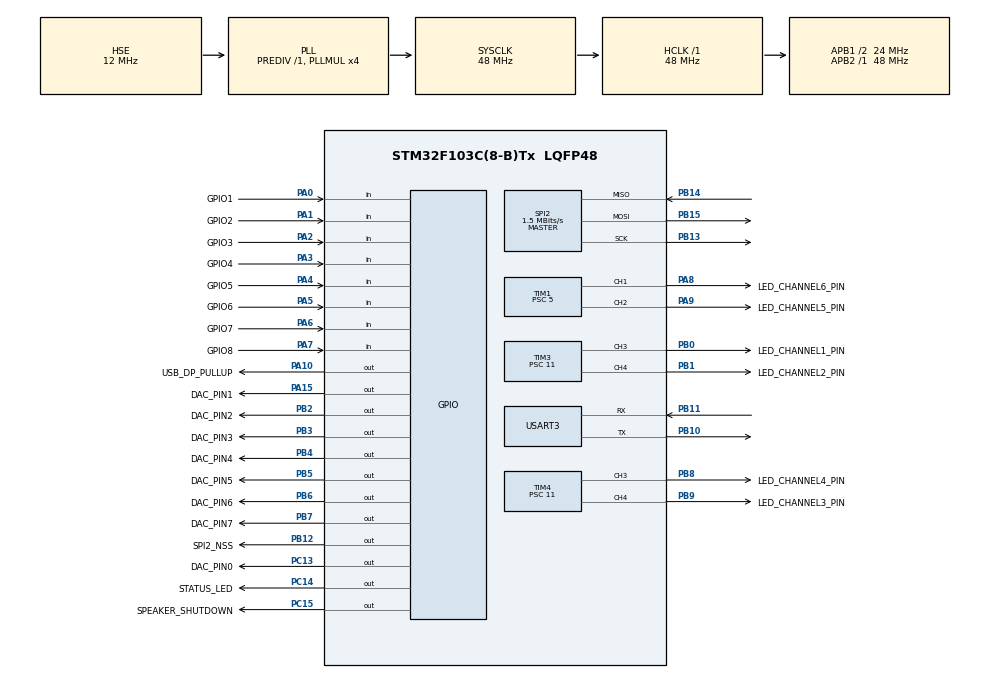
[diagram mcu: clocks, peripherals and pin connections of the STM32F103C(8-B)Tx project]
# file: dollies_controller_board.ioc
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Mcu.Family=STM32F1
Mcu.Name=STM32F103C(8-B)Tx
Mcu.Package=LQFP48
Mcu.UserConstants=TIMER_COUNTER_MAX_VALUE,10000
NVIC.PriorityGroup=NVIC_PRIORITYGROUP_4
NVIC.TIM1_CC_IRQn=true\:1\:0\:true\:false\:true\:true\:true
NVIC.TIM1_UP_IRQn=true\:1\:0\:true\:false\:true\:true\:true
NVIC.TIM2_IRQn=true\:0\:0\:false\:false\:true\:true\:true
NVIC.TIM3_IRQn=true\:5\:0\:true\:false\:true\:true\:true
PA0-WKUP.GPIO_Label=GPIO1
PA0-WKUP.GPIO_PuPd=GPIO_PULLUP
PA0-WKUP.Signal=GPIO_Input
PA1.GPIO_Label=GPIO2
PA1.GPIO_PuPd=GPIO_PULLUP
PA1.Signal=GPIO_Input
PA10.GPIO_Label=USB_DP_PULLUP
PA10.GPIO_ModeDefaultOutputPP=GPIO_MODE_OUTPUT_PP
PA10.PinState=GPIO_PIN_RESET
PA10.Signal=GPIO_Output
PA11.Signal=USB_DM
PA12.Signal=USB_DP
PA13.Mode=Serial_Wire
PA13.Signal=SYS_JTMS-SWDIO
PA14.Mode=Serial_Wire
PA14.Signal=SYS_JTCK-SWCLK
PA15.GPIO_Label=DAC_PIN1
PA15.Signal=GPIO_Output
PA2.GPIO_Label=GPIO3
PA2.GPIO_PuPd=GPIO_PULLUP
PA2.Signal=GPIO_Input
PA3.GPIO_Label=GPIO4
PA3.GPIO_PuPd=GPIO_PULLUP
PA3.Signal=GPIO_Input
PA4.GPIO_Label=GPIO5
PA4.GPIO_PuPd=GPIO_PULLUP
PA4.Signal=GPIO_Input
PA5.GPIO_Label=GPIO6
PA5.GPIO_PuPd=GPIO_PULLUP
PA5.Signal=GPIO_Input
PA6.GPIO_Label=GPIO7
PA6.GPIO_PuPd=GPIO_PULLUP
PA6.Signal=GPIO_Input
PA7.GPIO_Label=GPIO8
PA7.GPIO_PuPd=GPIO_PULLUP
PA7.Signal=GPIO_Input
PA8.GPIO_Label=LED_CHANNEL6_PIN
PA8.Signal=S_TIM1_CH1
PA9.GPIO_Label=LED_CHANNEL5_PIN
PA9.Signal=S_TIM1_CH2
PB0.GPIO_Label=LED_CHANNEL1_PIN
PB0.Signal=S_TIM3_CH3
PB1.GPIO_Label=LED_CHANNEL2_PIN
PB1.Signal=S_TIM3_CH4
PB10.Mode=Asynchronous
PB10.Signal=USART3_TX
PB11.Mode=Asynchronous
PB11.Signal=USART3_RX
PB12.GPIO_Label=SPI2_NSS
PB12.Signal=GPIO_Output
PB13.Mode=Full_Duplex_Master
PB13.Signal=SPI2_SCK
PB14.Mode=Full_Duplex_Master
PB14.Signal=SPI2_MISO
PB15.Mode=Full_Duplex_Master
PB15.Signal=SPI2_MOSI
PB2.GPIO_Label=DAC_PIN2
PB2.Signal=GPIO_Output
PB3.GPIO_Label=DAC_PIN3
PB3.Signal=GPIO_Output
PB4.GPIO_Label=DAC_PIN4
PB4.Signal=GPIO_Output
PB5.GPIO_Label=DAC_PIN5
PB5.Signal=GPIO_Output
PB6.GPIO_Label=DAC_PIN6
PB6.Signal=GPIO_Output
PB7.GPIO_Label=DAC_PIN7
PB7.Signal=GPIO_Output
PB8.GPIO_Label=LED_CHANNEL4_PIN
PB8.Signal=S_TIM4_CH3
PB9.GPIO_Label=LED_CHANNEL3_PIN
PB9.Signal=S_TIM4_CH4
PC13-TAMPER-RTC.GPIO_Label=DAC_PIN0
PC13-TAMPER-RTC.Signal=GPIO_Output
PC14-OSC32_IN.GPIO_Label=STATUS_LED
PC14-OSC32_IN.Signal=GPIO_Output
PC15-OSC32_OUT.GPIO_Label=SPEAKER_SHUTDOWN
PC15-OSC32_OUT.Signal=GPIO_Output
PD0-OSC_IN.Mode=HSE-External-Oscillator
PD0-OSC_IN.Signal=RCC_OSC_IN
PD1-OSC_OUT.Mode=HSE-External-Oscillator
PD1-OSC_OUT.Signal=RCC_OSC_OUT
ProjectManager.HeapSize=0x1000
ProjectManager.StackSize=0x400
ProjectManager.TargetToolchain=MDK-ARM V5
RCC.AHBFreq_Value=48000000
RCC.APB1CLKDivider=RCC_HCLK_DIV2
RCC.APB1Freq_Value=24000000
RCC.APB1TimFreq_Value=48000000
RCC.APB2Freq_Value=48000000
RCC.APB2TimFreq_Value=48000000
RCC.HCLKFreq_Value=48000000
RCC.HSE_VALUE=12000000
RCC.PLLMUL=RCC_PLL_MUL4
RCC.PLLSourceVirtual=RCC_PLLSOURCE_HSE
RCC.SYSCLKFreq_VALUE=48000000
RCC.SYSCLKSource=RCC_SYSCLKSOURCE_PLLCLK
RCC.USBFreq_Value=48000000
SH.S_TIM1_CH1.0=TIM1_CH1,PWM Generation1 CH1
SH.S_TIM1_CH2.0=TIM1_CH2,PWM Generation2 CH2
SH.S_TIM3_CH3.0=TIM3_CH3,PWM Generation3 CH3
SH.S_TIM3_CH4.0=TIM3_CH4,PWM Generation4 CH4
SH.S_TIM4_CH3.0=TIM4_CH3,PWM Generation3 CH3
SH.S_TIM4_CH4.0=TIM4_CH4,PWM Generation4 CH4
SPI2.BaudRatePrescaler=SPI_BAUDRATEPRESCALER_16
SPI2.CalculateBaudRate=1.5 MBits/s
SPI2.Direction=SPI_DIRECTION_2LINES
SPI2.Mode=SPI_MODE_MASTER
SPI2.VirtualType=VM_MASTER
TIM1.Channel-Output\ Compare3\ No\ Output=TIM_CHANNEL_3
TIM1.Channel-PWM\ Generation1\ CH1=TIM_CHANNEL_1
TIM1.Channel-PWM\ Generation2\ CH2=TIM_CHANNEL_2
TIM1.Period=TIMER_COUNTER_MAX_VALUE
TIM1.Prescaler=5
TIM2.Channel-Output\ Compare1\ No\ Output=TIM_CHANNEL_1
TIM2.Prescaler=374
TIM3.Channel-PWM\ Generation3\ CH3=TIM_CHANNEL_3
TIM3.Channel-PWM\ Generation4\ CH4=TIM_CHANNEL_4
TIM3.Period=TIMER_COUNTER_MAX_VALUE
TIM3.Prescaler=11
TIM4.Channel-PWM\ Generation3\ CH3=TIM_CHANNEL_3
TIM4.Channel-PWM\ Generation4\ CH4=TIM_CHANNEL_4
TIM4.Period=TIMER_COUNTER_MAX_VALUE
TIM4.Prescaler=11
USART3.VirtualMode=VM_ASYNC
VP_TIM1_VS_ClockSourceINT.Mode=Internal
VP_TIM1_VS_no_output3.Mode=Output Compare3 No Output
VP_TIM2_VS_ClockSourceINT.Mode=Internal
VP_TIM2_VS_no_output1.Mode=Output Compare1 No Output
VP_TIM3_VS_ClockSourceINT.Mode=Internal
VP_TIM4_VS_ClockSourceINT.Mode=Internal
board=custom

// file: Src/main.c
/* USER CODE BEGIN Header */
/**
  ******************************************************************************
  * @file           : main.c
  * @brief          : Main program body
  ******************************************************************************
  * @attention
  *
  * <h2><center>&copy; Copyright (c) 2020 STMicroelectronics.
  * All rights reserved.</center></h2>
  *
  * This software component is licensed by ST under BSD 3-Clause license,
  * the "License"; You may not use this file except in compliance with the
  * License. You may obtain a copy of the License at:
  *                        opensource.org/licenses/BSD-3-Clause
  *
  ******************************************************************************
  */
/* USER CODE END Header */
#include "main.h"

/* USER CODE BEGIN Includes */
#include "flash_disk_access_wrapper.h"

#include "fs_api.h"
#include "task_usb.h"
#include "device_api.h"

#include "FreeRTOS.h"
#include "task.h"
#include "semphr.h"
#include "queue.h"

/* USER CODE END Includes */

SPI_HandleTypeDef hspi2;

TIM_HandleTypeDef htim1;
TIM_HandleTypeDef htim2;
TIM_HandleTypeDef htim3;
TIM_HandleTypeDef htim4;

UART_HandleTypeDef huart3;

void SystemClock_Config(void);
static void MX_GPIO_Init(void);
static void MX_SPI2_Init(void);
static void MX_TIM1_Init(void);
static void MX_TIM3_Init(void);
static void MX_TIM4_Init(void);
static void MX_USART3_UART_Init(void);
static void MX_TIM2_Init(void);
/* USER CODE BEGIN PFP */
void initUSB_Clock(void);
/* USER CODE END PFP */

int main(void)
{

  /* MCU Configuration--------------------------------------------------------*/

  /* Reset of all peripherals, Initializes the Flash interface and the Systick. */
  HAL_Init();

  /* Configure the system clock */
  SystemClock_Config();

  /* USER CODE BEGIN SysInit */
  //HAL_Delay(100);
  /* USER CODE END SysInit */

  /* Initialize all configured peripherals */
  MX_GPIO_Init();
  MX_SPI2_Init();
  MX_TIM1_Init();
  MX_TIM3_Init();
  MX_TIM4_Init();
  MX_USART3_UART_Init();
  MX_TIM2_Init();
  /* USER CODE BEGIN 2 */
	initUSB_Clock();

	flashDiskAccessWrapperInit(flashDiskWrapperLocate());
  initTaskFS();
  initTaskUSB();
  initTaskDevice();
  //initFatFS();

  /* USER CODE END 2 */

  /* Infinite loop */
  /* USER CODE BEGIN WHILE */
	__disable_irq();
	HAL_TIM_Base_Start_IT(&htim1);
	HAL_TIM_OC_Start_IT(&htim1, TIM_CHANNEL_3);
	//dummy, will never occur

  HAL_GPIO_WritePin(GPIOA, USB_DP_PULLUP_Pin|DAC_PIN1_Pin, GPIO_PIN_SET);
	HAL_TIM_Base_Start_IT(&htim3);
	vTaskStartScheduler();
  while (1)
  {

    /* USER CODE END WHILE */

  }
}

void SystemClock_Config(void)
{
  RCC_OscInitTypeDef RCC_OscInitStruct = {0};
  RCC_ClkInitTypeDef RCC_ClkInitStruct = {0};

  /** Initializes the RCC Oscillators according to the specified parameters
  * in the RCC_OscInitTypeDef structure.
  */
  RCC_OscInitStruct.OscillatorType = RCC_OSCILLATORTYPE_HSE;
  RCC_OscInitStruct.HSEState = RCC_HSE_ON;
  RCC_OscInitStruct.HSEPredivValue = RCC_HSE_PREDIV_DIV1;
  RCC_OscInitStruct.HSIState = RCC_HSI_ON;
  RCC_OscInitStruct.PLL.PLLState = RCC_PLL_ON;
  RCC_OscInitStruct.PLL.PLLSource = RCC_PLLSOURCE_HSE;
  RCC_OscInitStruct.PLL.PLLMUL = RCC_PLL_MUL4;
  if (HAL_RCC_OscConfig(&RCC_OscInitStruct) != HAL_OK)
  {
    Error_Handler();
  }
  /** Initializes the CPU, AHB and APB buses clocks
  */
  RCC_ClkInitStruct.ClockType = RCC_CLOCKTYPE_HCLK|RCC_CLOCKTYPE_SYSCLK
                              |RCC_CLOCKTYPE_PCLK1|RCC_CLOCKTYPE_PCLK2;
  RCC_ClkInitStruct.SYSCLKSource = RCC_SYSCLKSOURCE_PLLCLK;
  RCC_ClkInitStruct.AHBCLKDivider = RCC_SYSCLK_DIV1;
  RCC_ClkInitStruct.APB1CLKDivider = RCC_HCLK_DIV2;
  RCC_ClkInitStruct.APB2CLKDivider = RCC_HCLK_DIV1;

  if (HAL_RCC_ClockConfig(&RCC_ClkInitStruct, FLASH_LATENCY_1) != HAL_OK)
  {
    Error_Handler();
  }
}

static void MX_SPI2_Init(void)
{

  /* SPI2 parameter configuration*/
  hspi2.Instance = SPI2;
  hspi2.Init.Mode = SPI_MODE_MASTER;
  hspi2.Init.Direction = SPI_DIRECTION_2LINES;
  hspi2.Init.DataSize = SPI_DATASIZE_8BIT;
  hspi2.Init.CLKPolarity = SPI_POLARITY_LOW;
  hspi2.Init.CLKPhase = SPI_PHASE_1EDGE;
  hspi2.Init.NSS = SPI_NSS_SOFT;
  hspi2.Init.BaudRatePrescaler = SPI_BAUDRATEPRESCALER_16;
  hspi2.Init.FirstBit = SPI_FIRSTBIT_MSB;
  hspi2.Init.TIMode = SPI_TIMODE_DISABLE;
  hspi2.Init.CRCCalculation = SPI_CRCCALCULATION_DISABLE;
  hspi2.Init.CRCPolynomial = 10;
  if (HAL_SPI_Init(&hspi2) != HAL_OK)
  {
    Error_Handler();
  }
  /* USER CODE BEGIN SPI2_Init 2 */
  HAL_GPIO_WritePin(GPIOB, SPI2_NSS_Pin, GPIO_PIN_SET);
  /* USER CODE END SPI2_Init 2 */

}

static void MX_TIM1_Init(void)
{

  TIM_ClockConfigTypeDef sClockSourceConfig = {0};
  TIM_MasterConfigTypeDef sMasterConfig = {0};
  TIM_OC_InitTypeDef sConfigOC = {0};
  TIM_BreakDeadTimeConfigTypeDef sBreakDeadTimeConfig = {0};

  htim1.Instance = TIM1;
  htim1.Init.Prescaler = 5;
  htim1.Init.CounterMode = TIM_COUNTERMODE_UP;
  htim1.Init.Period = TIMER_COUNTER_MAX_VALUE;
  htim1.Init.ClockDivision = TIM_CLOCKDIVISION_DIV1;
  htim1.Init.RepetitionCounter = 0;
  htim1.Init.AutoReloadPreload = TIM_AUTORELOAD_PRELOAD_DISABLE;
  if (HAL_TIM_Base_Init(&htim1) != HAL_OK)
  {
    Error_Handler();
  }
  sClockSourceConfig.ClockSource = TIM_CLOCKSOURCE_INTERNAL;
  if (HAL_TIM_ConfigClockSource(&htim1, &sClockSourceConfig) != HAL_OK)
  {
    Error_Handler();
  }
  if (HAL_TIM_PWM_Init(&htim1) != HAL_OK)
  {
    Error_Handler();
  }
  if (HAL_TIM_OC_Init(&htim1) != HAL_OK)
  {
    Error_Handler();
  }
  sMasterConfig.MasterOutputTrigger = TIM_TRGO_RESET;
  sMasterConfig.MasterSlaveMode = TIM_MASTERSLAVEMODE_DISABLE;
  if (HAL_TIMEx_MasterConfigSynchronization(&htim1, &sMasterConfig) != HAL_OK)
  {
    Error_Handler();
  }
  sConfigOC.OCMode = TIM_OCMODE_PWM1;
  sConfigOC.Pulse = 0;
  sConfigOC.OCPolarity = TIM_OCPOLARITY_HIGH;
  sConfigOC.OCNPolarity = TIM_OCNPOLARITY_HIGH;
  sConfigOC.OCFastMode = TIM_OCFAST_DISABLE;
  sConfigOC.OCIdleState = TIM_OCIDLESTATE_RESET;
  sConfigOC.OCNIdleState = TIM_OCNIDLESTATE_RESET;
  if (HAL_TIM_PWM_ConfigChannel(&htim1, &sConfigOC, TIM_CHANNEL_1) != HAL_OK)
  {
    Error_Handler();
  }
  if (HAL_TIM_PWM_ConfigChannel(&htim1, &sConfigOC, TIM_CHANNEL_2) != HAL_OK)
  {
    Error_Handler();
  }
  sConfigOC.OCMode = TIM_OCMODE_TIMING;
  if (HAL_TIM_OC_ConfigChannel(&htim1, &sConfigOC, TIM_CHANNEL_3) != HAL_OK)
  {
    Error_Handler();
  }
  sBreakDeadTimeConfig.OffStateRunMode = TIM_OSSR_DISABLE;
  sBreakDeadTimeConfig.OffStateIDLEMode = TIM_OSSI_DISABLE;
  sBreakDeadTimeConfig.LockLevel = TIM_LOCKLEVEL_OFF;
  sBreakDeadTimeConfig.DeadTime = 0;
  sBreakDeadTimeConfig.BreakState = TIM_BREAK_DISABLE;
  sBreakDeadTimeConfig.BreakPolarity = TIM_BREAKPOLARITY_HIGH;
  sBreakDeadTimeConfig.AutomaticOutput = TIM_AUTOMATICOUTPUT_DISABLE;
  if (HAL_TIMEx_ConfigBreakDeadTime(&htim1, &sBreakDeadTimeConfig) != HAL_OK)
  {
    Error_Handler();
  }
  HAL_TIM_MspPostInit(&htim1);

}

static void MX_TIM2_Init(void)
{

  TIM_ClockConfigTypeDef sClockSourceConfig = {0};
  TIM_MasterConfigTypeDef sMasterConfig = {0};
  TIM_OC_InitTypeDef sConfigOC = {0};

  htim2.Instance = TIM2;
  htim2.Init.Prescaler = 374;
  htim2.Init.CounterMode = TIM_COUNTERMODE_UP;
  htim2.Init.Period = 65535;
  htim2.Init.ClockDivision = TIM_CLOCKDIVISION_DIV1;
  htim2.Init.AutoReloadPreload = TIM_AUTORELOAD_PRELOAD_DISABLE;
  if (HAL_TIM_Base_Init(&htim2) != HAL_OK)
  {
    Error_Handler();
  }
  sClockSourceConfig.ClockSource = TIM_CLOCKSOURCE_INTERNAL;
  if (HAL_TIM_ConfigClockSource(&htim2, &sClockSourceConfig) != HAL_OK)
  {
    Error_Handler();
  }
  if (HAL_TIM_OC_Init(&htim2) != HAL_OK)
  {
    Error_Handler();
  }
  sMasterConfig.MasterOutputTrigger = TIM_TRGO_RESET;
  sMasterConfig.MasterSlaveMode = TIM_MASTERSLAVEMODE_DISABLE;
  if (HAL_TIMEx_MasterConfigSynchronization(&htim2, &sMasterConfig) != HAL_OK)
  {
    Error_Handler();
  }
  sConfigOC.OCMode = TIM_OCMODE_TIMING;
  sConfigOC.Pulse = 0;
  sConfigOC.OCPolarity = TIM_OCPOLARITY_HIGH;
  sConfigOC.OCFastMode = TIM_OCFAST_DISABLE;
  if (HAL_TIM_OC_ConfigChannel(&htim2, &sConfigOC, TIM_CHANNEL_1) != HAL_OK)
  {
    Error_Handler();
  }

}

static void MX_TIM3_Init(void)
{

  TIM_ClockConfigTypeDef sClockSourceConfig = {0};
  TIM_MasterConfigTypeDef sMasterConfig = {0};
  TIM_OC_InitTypeDef sConfigOC = {0};

  htim3.Instance = TIM3;
  htim3.Init.Prescaler = 11;
  htim3.Init.CounterMode = TIM_COUNTERMODE_UP;
  htim3.Init.Period = TIMER_COUNTER_MAX_VALUE;
  htim3.Init.ClockDivision = TIM_CLOCKDIVISION_DIV1;
  htim3.Init.AutoReloadPreload = TIM_AUTORELOAD_PRELOAD_DISABLE;
  if (HAL_TIM_Base_Init(&htim3) != HAL_OK)
  {
    Error_Handler();
  }
  sClockSourceConfig.ClockSource = TIM_CLOCKSOURCE_INTERNAL;
  if (HAL_TIM_ConfigClockSource(&htim3, &sClockSourceConfig) != HAL_OK)
  {
    Error_Handler();
  }
  if (HAL_TIM_PWM_Init(&htim3) != HAL_OK)
  {
    Error_Handler();
  }
  sMasterConfig.MasterOutputTrigger = TIM_TRGO_RESET;
  sMasterConfig.MasterSlaveMode = TIM_MASTERSLAVEMODE_DISABLE;
  if (HAL_TIMEx_MasterConfigSynchronization(&htim3, &sMasterConfig) != HAL_OK)
  {
    Error_Handler();
  }
  sConfigOC.OCMode = TIM_OCMODE_PWM1;
  sConfigOC.Pulse = 0;
  sConfigOC.OCPolarity = TIM_OCPOLARITY_HIGH;
  sConfigOC.OCFastMode = TIM_OCFAST_DISABLE;
  if (HAL_TIM_PWM_ConfigChannel(&htim3, &sConfigOC, TIM_CHANNEL_3) != HAL_OK)
  {
    Error_Handler();
  }
  if (HAL_TIM_PWM_ConfigChannel(&htim3, &sConfigOC, TIM_CHANNEL_4) != HAL_OK)
  {
    Error_Handler();
  }
  HAL_TIM_MspPostInit(&htim3);

}

static void MX_TIM4_Init(void)
{

  TIM_ClockConfigTypeDef sClockSourceConfig = {0};
  TIM_MasterConfigTypeDef sMasterConfig = {0};
  TIM_OC_InitTypeDef sConfigOC = {0};

  htim4.Instance = TIM4;
  htim4.Init.Prescaler = 11;
  htim4.Init.CounterMode = TIM_COUNTERMODE_UP;
  htim4.Init.Period = TIMER_COUNTER_MAX_VALUE;
  htim4.Init.ClockDivision = TIM_CLOCKDIVISION_DIV1;
  htim4.Init.AutoReloadPreload = TIM_AUTORELOAD_PRELOAD_DISABLE;
  if (HAL_TIM_Base_Init(&htim4) != HAL_OK)
  {
    Error_Handler();
  }
  sClockSourceConfig.ClockSource = TIM_CLOCKSOURCE_INTERNAL;
  if (HAL_TIM_ConfigClockSource(&htim4, &sClockSourceConfig) != HAL_OK)
  {
    Error_Handler();
  }
  if (HAL_TIM_PWM_Init(&htim4) != HAL_OK)
  {
    Error_Handler();
  }
  sMasterConfig.MasterOutputTrigger = TIM_TRGO_RESET;
  sMasterConfig.MasterSlaveMode = TIM_MASTERSLAVEMODE_DISABLE;
  if (HAL_TIMEx_MasterConfigSynchronization(&htim4, &sMasterConfig) != HAL_OK)
  {
    Error_Handler();
  }
  sConfigOC.OCMode = TIM_OCMODE_PWM1;
  sConfigOC.Pulse = 0;
  sConfigOC.OCPolarity = TIM_OCPOLARITY_HIGH;
  sConfigOC.OCFastMode = TIM_OCFAST_DISABLE;
  if (HAL_TIM_PWM_ConfigChannel(&htim4, &sConfigOC, TIM_CHANNEL_3) != HAL_OK)
  {
    Error_Handler();
  }
  if (HAL_TIM_PWM_ConfigChannel(&htim4, &sConfigOC, TIM_CHANNEL_4) != HAL_OK)
  {
    Error_Handler();
  }
  HAL_TIM_MspPostInit(&htim4);

}

static void MX_USART3_UART_Init(void)
{

  huart3.Instance = USART3;
  huart3.Init.BaudRate = 115200;
  huart3.Init.WordLength = UART_WORDLENGTH_8B;
  huart3.Init.StopBits = UART_STOPBITS_1;
  huart3.Init.Parity = UART_PARITY_NONE;
  huart3.Init.Mode = UART_MODE_TX_RX;
  huart3.Init.HwFlowCtl = UART_HWCONTROL_NONE;
  huart3.Init.OverSampling = UART_OVERSAMPLING_16;
  if (HAL_UART_Init(&huart3) != HAL_OK)
  {
    Error_Handler();
  }

}

static void MX_GPIO_Init(void)
{
  GPIO_InitTypeDef GPIO_InitStruct = {0};

  /* GPIO Ports Clock Enable */
  __HAL_RCC_GPIOC_CLK_ENABLE();
  __HAL_RCC_GPIOD_CLK_ENABLE();
  __HAL_RCC_GPIOA_CLK_ENABLE();
  __HAL_RCC_GPIOB_CLK_ENABLE();

  /*Configure GPIO pin Output Level */
  HAL_GPIO_WritePin(GPIOC, DAC_PIN0_Pin|STATUS_LED_Pin|SPEAKER_SHUTDOWN_Pin, GPIO_PIN_RESET);

  /*Configure GPIO pin Output Level */
  HAL_GPIO_WritePin(GPIOB, DAC_PIN2_Pin|SPI2_NSS_Pin|DAC_PIN3_Pin|DAC_PIN4_Pin
                          |DAC_PIN5_Pin|DAC_PIN6_Pin|DAC_PIN7_Pin, GPIO_PIN_RESET);

  /*Configure GPIO pin Output Level */
  HAL_GPIO_WritePin(GPIOA, USB_DP_PULLUP_Pin|DAC_PIN1_Pin, GPIO_PIN_RESET);

  /*Configure GPIO pins : DAC_PIN0_Pin STATUS_LED_Pin SPEAKER_SHUTDOWN_Pin */
  GPIO_InitStruct.Pin = DAC_PIN0_Pin|STATUS_LED_Pin|SPEAKER_SHUTDOWN_Pin;
  GPIO_InitStruct.Mode = GPIO_MODE_OUTPUT_PP;
  GPIO_InitStruct.Pull = GPIO_NOPULL;
  GPIO_InitStruct.Speed = GPIO_SPEED_FREQ_LOW;
  HAL_GPIO_Init(GPIOC, &GPIO_InitStruct);

  /*Configure GPIO pins : GPIO1_Pin GPIO2_Pin GPIO3_Pin GPIO4_Pin
                           GPIO5_Pin GPIO6_Pin GPIO7_Pin GPIO8_Pin */
  GPIO_InitStruct.Pin = GPIO1_Pin|GPIO2_Pin|GPIO3_Pin|GPIO4_Pin
                          |GPIO5_Pin|GPIO6_Pin|GPIO7_Pin|GPIO8_Pin;
  GPIO_InitStruct.Mode = GPIO_MODE_INPUT;
  GPIO_InitStruct.Pull = GPIO_PULLUP;
  HAL_GPIO_Init(GPIOA, &GPIO_InitStruct);

  /*Configure GPIO pins : DAC_PIN2_Pin SPI2_NSS_Pin DAC_PIN3_Pin DAC_PIN4_Pin
                           DAC_PIN5_Pin DAC_PIN6_Pin DAC_PIN7_Pin */
  GPIO_InitStruct.Pin = DAC_PIN2_Pin|SPI2_NSS_Pin|DAC_PIN3_Pin|DAC_PIN4_Pin
                          |DAC_PIN5_Pin|DAC_PIN6_Pin|DAC_PIN7_Pin;
  GPIO_InitStruct.Mode = GPIO_MODE_OUTPUT_PP;
  GPIO_InitStruct.Pull = GPIO_NOPULL;
  GPIO_InitStruct.Speed = GPIO_SPEED_FREQ_LOW;
  HAL_GPIO_Init(GPIOB, &GPIO_InitStruct);

  /*Configure GPIO pins : USB_DP_PULLUP_Pin DAC_PIN1_Pin */
  GPIO_InitStruct.Pin = USB_DP_PULLUP_Pin|DAC_PIN1_Pin;
  GPIO_InitStruct.Mode = GPIO_MODE_OUTPUT_PP;
  GPIO_InitStruct.Pull = GPIO_NOPULL;
  GPIO_InitStruct.Speed = GPIO_SPEED_FREQ_LOW;
  HAL_GPIO_Init(GPIOA, &GPIO_InitStruct);

}

/* USER CODE BEGIN 4 */

void initUSB_Clock(void)
{
	RCC_PeriphCLKInitTypeDef  clockInit;
	clockInit.PeriphClockSelection = RCC_PERIPHCLK_USB;
	clockInit.UsbClockSelection = RCC_USBCLKSOURCE_PLLCLK;
	HAL_RCCEx_PeriphCLKConfig(&clockInit);

  __HAL_RCC_USB_CLK_ENABLE();
}

/* USER CODE END 4 */

void Error_Handler(void)
{
    while(1)
    {
    }
}

/************************ (C) COPYRIGHT STMicroelectronics *****END OF FILE****/
